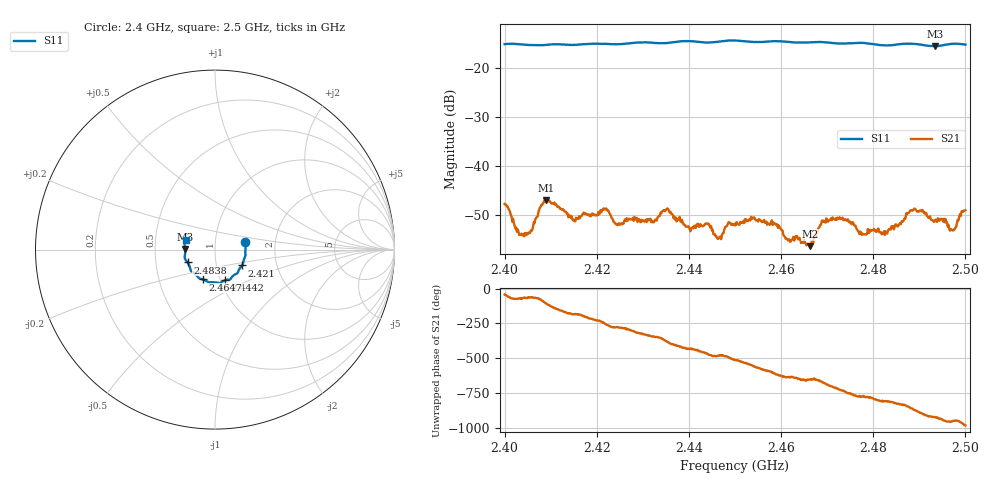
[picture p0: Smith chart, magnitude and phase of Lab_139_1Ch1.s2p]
# Hz S RI R 50
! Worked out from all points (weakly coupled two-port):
!   601 points, 2.4 GHz to 2.5 GHz, reference 50 ohm
!   highest |S21| = -46.88 dB at 2.409 GHz (marker M1); lowest = -56.2 dB at 2.4663 GHz (marker M2)
!   lowest |S11| = -15.6 dB at 2.4935 GHz (marker M3), VSWR 1.40, Z = 35.8 + j0.207 ohm
!   |S11| at or under -10 dB: start of sweep to end of sweep
!   S12 and S22 are empty: the file has one direction only
!   S11 on the Smith chart (normalised r, x): 2.4 GHz: 1.40, +0.12; 2.421 GHz: 1.33, -0.24; 2.4442 GHz: 1.05, -0.37; 2.4647 GHz: 0.83, -0.29; 2.4838 GHz: 0.73, -0.11; 2.5 GHz: 0.72, +0.08
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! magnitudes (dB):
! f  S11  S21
! 2.4 GHz  -15.2  -47.7
! 2.4043 GHz  -15.4  -53.6
! 2.409 GHz  -15.4  -46.9
! 2.4167 GHz  -15.3  -50.1
! 2.421 GHz  -15.1  -49.4
! 2.4247 GHz  -15.2  -51.8
! 2.4333 GHz  -15.0  -50.2
! 2.4442 GHz  -14.9  -51.7
! 2.4465 GHz  -14.7  -54.6
! 2.45 GHz  -14.5  -52.0
! 2.4583 GHz  -14.6  -51.4
! 2.4647 GHz  -14.9  -55.5
! 2.4663 GHz  -14.9  -56.2
! 2.4667 GHz  -14.8  -55.2
! 2.4713 GHz  -15.0  -50.7
! 2.478 GHz  -15.0  -53.8
! 2.4833 GHz  -15.5  -52.9
! 2.4838 GHz  -15.5  -52.9
! 2.4887 GHz  -15.2  -48.8
! 2.4935 GHz  -15.6  -50.8
! 2.4972 GHz  -15.1  -53.0
! 2.5 GHz  -15.3  -48.9
